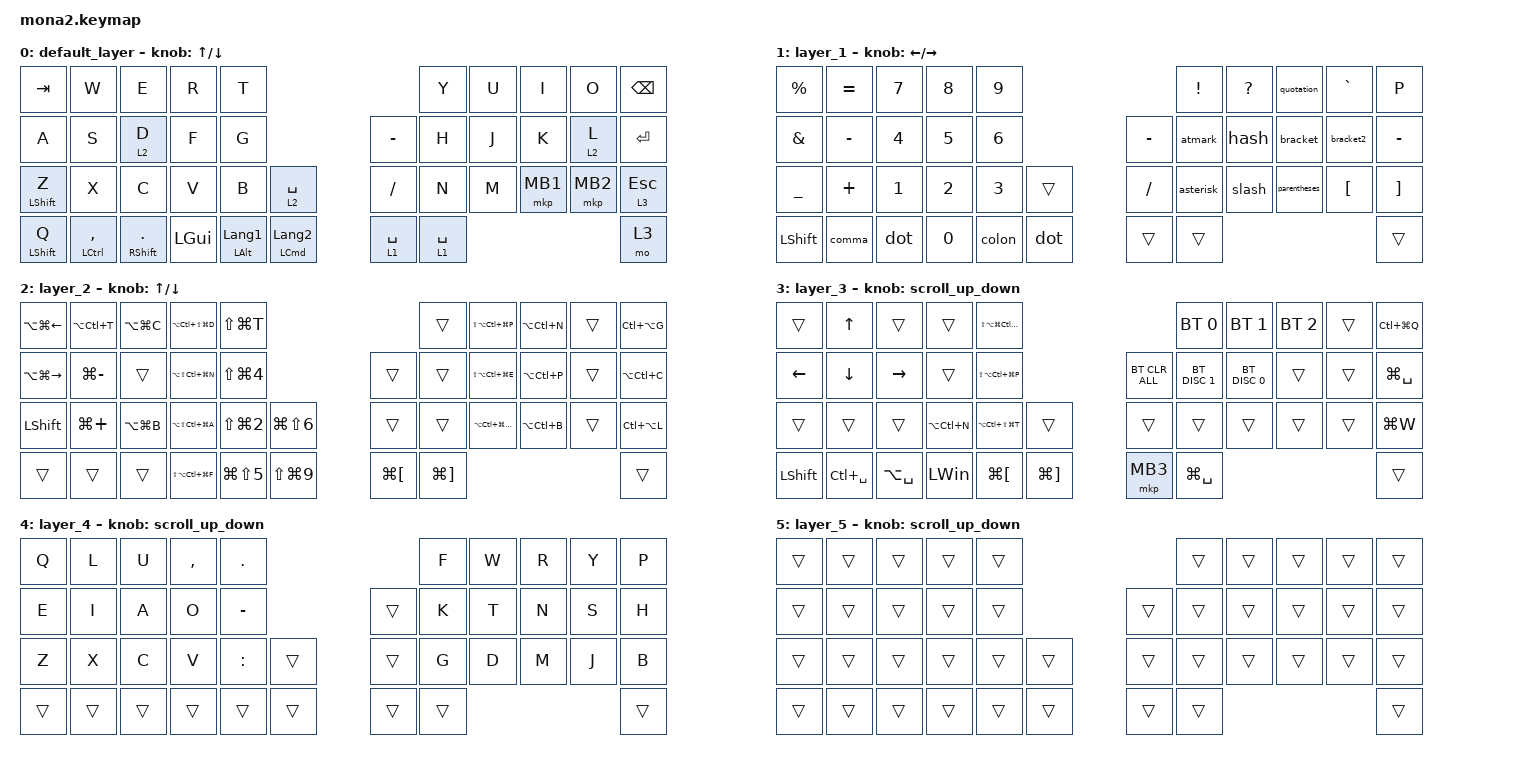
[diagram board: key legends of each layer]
#include <behaviors.dtsi>
#include <dt-bindings/zmk/bt.h>
#include <dt-bindings/zmk/keys.h>
#include <dt-bindings/zmk/pointing.h>

#define ZMK_POINTING_DEFAULT_SCRL_VAL 100

&mt {
    flavor = "balanced";
    quick-tap-ms = <0>;
};

/ {
    combos { compatible = "zmk,combos"; };

    macros {
        asterisk: asterisk {
            compatible = "zmk,behavior-macro";
            #binding-cells = <0>;
            bindings = <&kp LANGUAGE_2 &kp ASTERISK>;
            label = "ASTERISK";
        };

        slash: slash {
            compatible = "zmk,behavior-macro";
            #binding-cells = <0>;
            bindings = <&kp LANGUAGE_2 &kp SLASH>;
            label = "SLASH";
        };

        dot: dot {
            compatible = "zmk,behavior-macro";
            #binding-cells = <0>;
            bindings = <&kp LANGUAGE_2 &kp DOT>;
            label = "DOT";
        };

        comma: comma {
            compatible = "zmk,behavior-macro";
            #binding-cells = <0>;
            bindings = <&kp LANGUAGE_2 &kp COMMA>;
            label = "COMMA";
        };

        hash: hashtag {
            compatible = "zmk,behavior-macro";
            #binding-cells = <0>;
            bindings = <&kp LANGUAGE_2 &kp HASH>;
            label = "HASHTAG";
        };

        atmark: atmark {
            compatible = "zmk,behavior-macro";
            #binding-cells = <0>;
            bindings = <&kp LANGUAGE_2 &kp AT>;
            label = "ATMARK";
        };

        colon: colon {
            compatible = "zmk,behavior-macro";
            #binding-cells = <0>;
            bindings = <&kp LANGUAGE_2 &kp COLON>;
            label = "COLON";
        };

        bracket: bracket {
            compatible = "zmk,behavior-macro";
            #binding-cells = <0>;
            bindings = <&kp LANGUAGE_1 &kp LEFT_BRACKET &kp RIGHT_BRACKET &kp ENTER &kp LEFT_ARROW>;
            label = "BRACKET";
        };

        parentheses: parentheses {
            compatible = "zmk,behavior-macro";
            #binding-cells = <0>;
            bindings = <&kp LANGUAGE_1 &kp LEFT_PARENTHESIS &kp RIGHT_PARENTHESIS &kp ENTER &kp LEFT_ARROW>;
            label = "PARENTHESES";
        };

        task: task {
            compatible = "zmk,behavior-macro";
            #binding-cells = <0>;
            bindings = <&kp LANGUAGE_2 &kp LBKT &kp RIGHT_BRACKET &kp SPACE>;
            label = "TASK";
        };

        bracket2: bracket2 {
            compatible = "zmk,behavior-macro";
            #binding-cells = <0>;
            bindings = <&kp LANGUAGE_1 &kp LEFT_BRACKET &kp RIGHT_BRACKET>;
            label = "BRACKET2";
        };

        quotation: quotation {
            compatible = "zmk,behavior-macro";
            #binding-cells = <0>;
            bindings = <&kp LANGUAGE_2 &kp DOUBLE_QUOTES>;
            label = "QUOTATION";
        };

        mention: mention {
            compatible = "zmk,behavior-macro";
            #binding-cells = <0>;
            bindings = <&kp LANGUAGE_2 &kp LEFT_BRACKET &kp LEFT_BRACKET>;
            label = "MENTION";
        };

        code: code {
            compatible = "zmk,behavior-macro";
            #binding-cells = <0>;
            bindings = <&kp LANGUAGE_2 &kp GRAVE>;
            label = "CODE";
        };

        colon2: colon2 {
            compatible = "zmk,behavior-macro";
            #binding-cells = <0>;
            bindings = <&kp LANGUAGE_1 &kp COLON>;
            label = "COLON2";
        };
    };

    behaviors {
        scroll_up_down: behavior_sensor_rotate_mouse_wheel_up_down {
            compatible = "zmk,behavior-sensor-rotate";
            #sensor-binding-cells = <0>;
            bindings = <&msc SCRL_UP>, <&msc SCRL_DOWN>;

            tap-ms = <20>;
        };
    };

    keymap {
        compatible = "zmk,keymap";

        default_layer {
            bindings = <
&kp TAB           &kp W                   &kp E                   &kp R         &kp T                                                                &kp Y        &kp U  &kp I     &kp O     &kp BACKSPACE
&kp A             &kp S                   &lt 2 D                 &kp F         &kp G                                                   &kp MINUS    &kp H        &kp J  &kp K     &lt 2 L   &kp ENTER
&mt LEFT_SHIFT Z  &kp X                   &kp C                   &kp V         &kp B                    &lt 2 SPACE                    &kp SLASH    &kp N        &kp M  &mkp MB1  &mkp MB2  &lt 3 ESCAPE
&mt LEFT_SHIFT Q  &mt LEFT_CONTROL COMMA  &mt RIGHT_SHIFT PERIOD  &kp LEFT_GUI  &mt LEFT_ALT LANGUAGE_1  &mt LEFT_COMMAND LANGUAGE_2    &lt 1 SPACE  &lt 1 SPACE                             &mo 3
            >;

            sensor-bindings = <&inc_dec_kp UP_ARROW DOWN_ARROW>;
        };

        layer_1 {
            bindings = <
&kp PERCENT     &kp EQUAL  &kp N7        &kp N8        &kp N9                             &kp EXCLAMATION  &kp QUESTION  &quotation    &kp GRAVE         &kp P
&kp AMPERSAND   &kp MINUS  &kp NUMBER_4  &kp N5        &kp NUMBER_6            &kp MINUS  &atmark          &hash         &bracket      &bracket2         &kp MINUS
&kp UNDERSCORE  &kp PLUS   &kp NUMBER_1  &kp NUMBER_2  &kp NUMBER_3  &trans    &kp SLASH  &asterisk        &slash        &parentheses  &kp LEFT_BRACKET  &kp RIGHT_BRACKET
&kp LEFT_SHIFT  &comma     &dot          &kp N0        &colon        &dot      &trans     &trans                                                         &trans
            >;

            sensor-bindings = <&inc_dec_kp LEFT_ARROW RIGHT_ARROW>;
        };

        layer_2 {
            bindings = <
&kp LA(LG(LEFT_ARROW))   &kp LA(LC(T))  &kp LA(LG(C))  &kp LA(LC(LS(LG(D))))  &kp LS(LG(T))                                                       &trans                 &kp LS(LA(LC(LG(P))))  &kp LA(LC(N))  &trans  &kp LC(LA(G))
&kp LA(LG(RIGHT_ARROW))  &kp LG(MINUS)  &trans         &kp LA(LS(LC(LG(N))))  &kp LS(LG(NUMBER_4))                          &trans                &trans                 &kp LS(LA(LC(LG(E))))  &kp LA(LC(P))  &trans  &kp LA(LC(C))
&kp LEFT_SHIFT           &kp LG(PLUS)   &kp LA(LG(B))  &kp LA(LS(LC(LG(A))))  &kp LS(LG(NUMBER_2))  &kp LG(LS(NUMBER_6))    &trans                &trans                 &kp LA(LC(LG(LS(Q))))  &kp LA(LC(B))  &trans  &kp LC(LA(L))
&trans                   &trans         &trans         &kp LS(LA(LC(LG(F))))  &kp LG(LS(N5))        &kp LS(LG(N9))          &kp LG(LEFT_BRACKET)  &kp LG(RIGHT_BRACKET)                                                &trans
            >;

            sensor-bindings = <&inc_dec_kp UP_ARROW DOWN_ARROW>;
        };

        layer_3 {
            bindings = <
&trans          &kp UP_ARROW    &trans           &trans         &kp LS(LA(LG(LC(Q))))                                           &bt BT_SEL 0   &bt BT_SEL 1   &bt BT_SEL 2  &trans  &kp LC(LG(Q))
&kp LEFT_ARROW  &kp DOWN_ARROW  &kp RIGHT_ARROW  &trans         &kp LS(LA(LC(LG(P))))                           &bt BT_CLR_ALL  &bt BT_DISC 1  &bt BT_DISC 0  &trans        &trans  &kp LG(SPACE)
&trans          &trans          &trans           &kp LA(LC(N))  &kp LA(LC(LS(LG(T))))  &trans                   &trans          &trans         &trans         &trans        &trans  &kp LG(W)
&kp LEFT_SHIFT  &kp LC(SPACE)   &kp LA(SPACE)    &kp LEFT_WIN   &kp LG(LEFT_BRACKET)   &kp LG(RIGHT_BRACKET)    &mkp MB3        &kp LG(SPACE)                                       &trans
            >;

            sensor-bindings = <&scroll_up_down>;
        };

        layer_4 {
            bindings = <
&kp Q   &kp L   &kp U   &kp COMMA  &kp PERIOD                    &kp F   &kp W  &kp R  &kp Y  &kp P
&kp E   &kp I   &kp A   &kp O      &kp MINUS             &trans  &kp K   &kp T  &kp N  &kp S  &kp H
&kp Z   &kp X   &kp C   &kp V      &kp COLON   &trans    &trans  &kp G   &kp D  &kp M  &kp J  &kp B
&trans  &trans  &trans  &trans     &trans      &trans    &trans  &trans                       &trans
            >;

            sensor-bindings = <&scroll_up_down>;
        };

        layer_5 {
            bindings = <
&trans  &trans  &trans  &trans  &trans                    &trans  &trans  &trans  &trans  &trans
&trans  &trans  &trans  &trans  &trans            &trans  &trans  &trans  &trans  &trans  &trans
&trans  &trans  &trans  &trans  &trans  &trans    &trans  &trans  &trans  &trans  &trans  &trans
&trans  &trans  &trans  &trans  &trans  &trans    &trans  &trans                          &trans
            >;

            sensor-bindings = <&scroll_up_down>;
        };
    };
};
